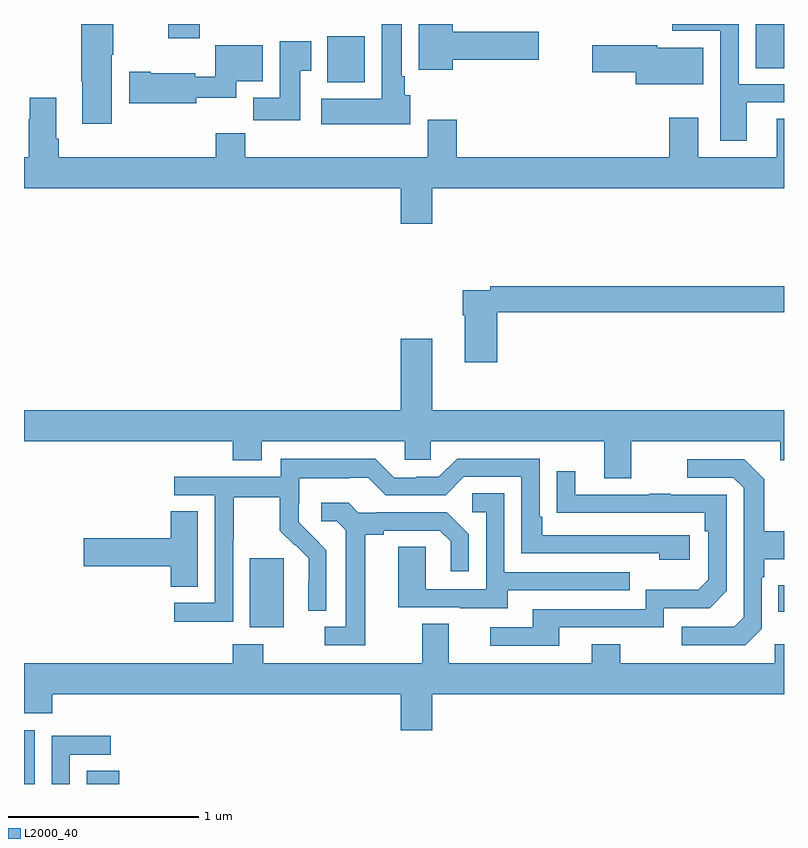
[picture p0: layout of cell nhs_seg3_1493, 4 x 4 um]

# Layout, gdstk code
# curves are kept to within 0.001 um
import gdstk
lib = gdstk.Library(unit=1e-6, precision=1e-09)
def R(c, l, rs):  # rectangles x0, y0, x1, y1
    for r in rs: c.add(gdstk.rectangle(r[:2], r[2:], *l))
def P(c, l, *ps):  # polygons
    for p in ps: c.add(gdstk.Polygon(p, *l))
L2000_40 = (2000, 40)

nhs_seg3_1493 = lib.new_cell('nhs_seg3_1493')
R(nhs_seg3_1493, L2000_40, [(187,744.4,187.057,744.682), (187.331,744.4,187.502,744.47), (188.189,745.226,188.368,745.587), (190.969,745.307,191,745.447), (188.597,748.094,188.794,748.336), (190.85,748.168,191,748.4), (187.759,748.326,187.924,748.4)])
P(nhs_seg3_1493, L2000_40, [(189.256,748.211),(189.709,748.211),(189.709,748.358),(189.256,748.358),(189.256,748.4),(189.077,748.4),(189.077,748.16),(189.256,748.16)],
  [(190.804,747.987),(191,747.987),(191,748.083),(190.761,748.083),(190.761,748.4),(190.411,748.4),(190.411,748.365),(190.665,748.365),(190.665,747.786),(190.804,747.786)],
  [(189.034,748.026),(189.004,748.026),(189.004,748.126),(188.989,748.126),(188.989,748.4),(188.882,748.4),(188.882,748.006),(188.565,748.006),(188.565,747.872),(189.034,747.872)],
  [(187.462,748.237),(187.47,748.237),(187.47,748.4),(187.3,748.4),(187.3,748.099),(187.307,748.099),(187.307,747.876),(187.462,747.876)],
  [(188.455,748.153),(188.512,748.153),(188.512,748.309),(188.345,748.309),(188.345,748.012),(188.206,748.012),(188.206,747.894),(188.455,747.894)],
  [(190.576,748.276),(190.334,748.276),(190.334,748.289),(189.99,748.289),(189.99,748.147),(190.22,748.147),(190.22,748.082),(190.576,748.082)],
  [(187.906,748.013),(188.116,748.013),(188.116,748.1),(188.257,748.1),(188.257,748.288),(188.006,748.288),(188.006,748.123),(187.902,748.123),(187.902,748.141),(187.666,748.141),(187.666,748.149),(187.554,748.149),(187.554,747.983),(187.906,747.983)],
  [(189.148,747.536),(191,747.536),(191,747.902),(190.961,747.902),(190.961,747.7),(190.549,747.7),(190.549,747.907),(190.397,747.907),(190.397,747.7),(189.278,747.7),(189.278,747.895),(189.125,747.895),(189.125,747.7),(188.165,747.7),(188.165,747.824),(188.009,747.824),(188.009,747.7),(187.184,747.7),(187.184,747.796),(187.171,747.796),(187.171,748.012),(187.031,748.012),(187.031,747.899),(187.024,747.899),(187.024,747.7),(187,747.7),(187,747.536),(188.984,747.536),(188.984,747.348),(189.148,747.348)],
  [(189.491,746.884),(191,746.884),(191,747.02),(189.454,747.02),(189.454,747),(189.308,747),(189.308,746.867),(189.32,746.867),(189.32,746.619),(189.491,746.619)],
  [(190.195,746.204),(190.979,746.204),(190.979,746.105),(191,746.105),(191,746.368),(189.148,746.368),(189.148,746.743),(188.984,746.743),(188.984,746.368),(187,746.368),(187,746.204),(188.099,746.204),(188.099,746.105),(188.251,746.105),(188.251,746.204),(189.003,746.204),(189.003,746.106),(189.141,746.106),(189.141,746.204),(190.055,746.204),(190.055,746.01),(190.195,746.01)],
  [(188.1,745.684),(188.103,745.684),(188.103,745.908),(188.347,745.908),(188.347,745.733),(188.424,745.656),(188.427,745.659),(188.498,745.589),(188.498,745.466),(188.496,745.466),(188.496,745.312),(188.592,745.312),(188.592,745.63),(188.446,745.778),(188.446,745.875),(188.448,745.875),(188.448,746.009),(188.711,746.009),(188.711,746.013),(188.811,746.013),(188.904,745.92),(189.219,745.92),(189.315,746.016),(189.618,746.016),(189.618,745.614),(190.343,745.614),(190.343,745.58),(190.504,745.58),(190.504,745.71),(189.727,745.71),(189.727,745.807),(189.714,745.807),(189.714,746.112),(189.279,746.112),(189.183,746.016),(189.065,746.016),(189.065,746.013),(188.949,746.013),(188.849,746.113),(188.352,746.113),(188.352,746.016),(187.791,746.016),(187.791,745.92),(188.004,745.92),(188.004,745.353),(187.791,745.353),(187.791,745.255),(188.1,745.255)],
  [(190.884,745.218),(190.884,745.487),(190.897,745.487),(190.897,745.583),(191,745.583),(191,745.731),(190.897,745.731),(190.897,746.003),(190.791,746.109),(190.491,746.109),(190.491,746.013),(190.734,746.013),(190.788,745.959),(190.788,745.278),(190.737,745.227),(190.461,745.227),(190.461,745.131),(190.797,745.131)],
  [(189.817,745.224),(190.368,745.224),(190.368,745.326),(190.608,745.326),(190.698,745.416),(190.698,745.923),(190.403,745.923),(190.403,745.928),(190.291,745.928),(190.291,745.923),(189.901,745.923),(189.901,746.047),(189.805,746.047),(189.805,745.828),(190.582,745.827),(190.582,745.73),(190.602,745.73),(190.602,745.476),(190.549,745.423),(190.272,745.423),(190.272,745.32),(189.677,745.32),(189.677,745.224),(189.453,745.224),(189.453,745.128),(189.817,745.128)],
  [(189.547,745.419),(190.187,745.419),(190.187,745.515),(189.528,745.515),(189.528,745.931),(189.36,745.931),(189.36,745.83),(189.432,745.83),(189.432,745.425),(189.114,745.425),(189.114,745.649),(188.969,745.649),(188.969,745.329),(189.293,745.329),(189.293,745.325),(189.547,745.325)],
  [(188.797,745.712),(188.893,745.712),(188.893,745.734),(189.188,745.734),(189.245,745.677),(189.245,745.521),(189.342,745.521),(189.342,745.714),(189.226,745.83),(188.854,745.83),(188.854,745.827),(188.76,745.827),(188.708,745.879),(188.565,745.879),(188.565,745.782),(188.646,745.782),(188.693,745.735),(188.693,745.227),(188.583,745.227),(188.583,745.131),(188.797,745.131)],
  [(187.915,745.835),(187.772,745.835),(187.772,745.694),(187.314,745.694),(187.314,745.547),(187.772,745.547),(187.772,745.438),(187.915,745.438)],
  [(189.148,744.872),(191,744.872),(191,745.135),(190.95,745.135),(190.95,745.036),(190.137,745.036),(190.137,745.135),(189.989,745.135),(189.989,745.036),(189.235,745.036),(189.235,745.244),(189.095,745.244),(189.095,745.036),(188.259,745.036),(188.259,745.135),(188.099,745.135),(188.099,745.036),(187,745.036),(187,744.773),(187.148,744.773),(187.148,744.872),(188.984,744.872),(188.984,744.684),(189.148,744.684)],
  [(187.242,744.555),(187.456,744.555),(187.456,744.654),(187.146,744.654),(187.146,744.4),(187.242,744.4)])

lib.write_gds('nhs_seg3_1493.gds')
